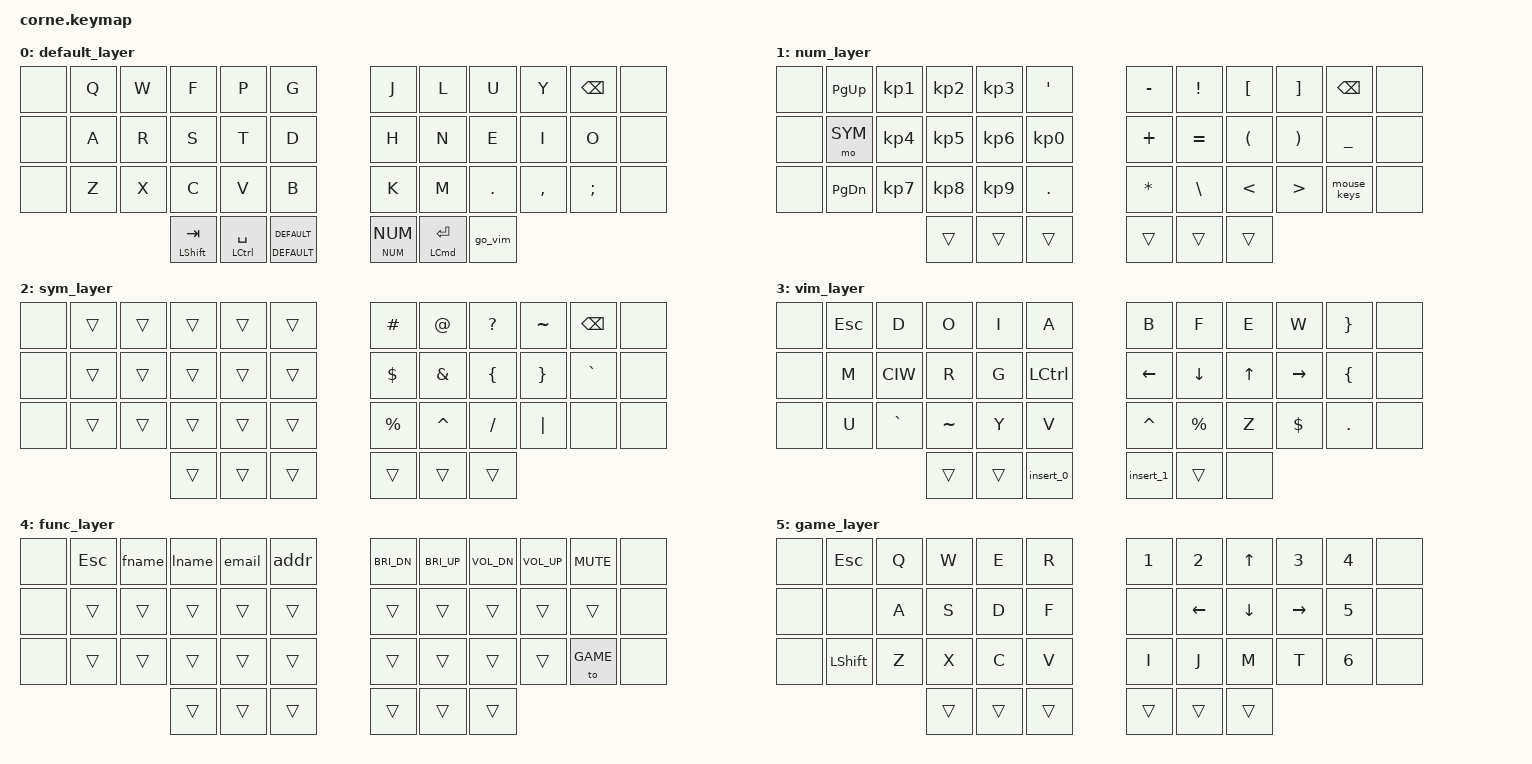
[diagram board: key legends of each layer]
/*
 * Copyright (c) 2020 The ZMK Contributors
 *
 * SPDX-License-Identifier: MIT
 */

#include <behaviors.dtsi>
#include <dt-bindings/zmk/keys.h>
#include <dt-bindings/zmk/bt.h>

// LAYERS
#define DEFAULT 0
#define NUM     1
#define SYM     2
#define VIM     3
#define FUNC    4
#define GAME    5

/ {
        behaviors {
                kp_to: kp_to {
                        compatible = "zmk,behavior-hold-tap";
                        #binding-cells = <2>;
                        bindings = <&kp>, <&to>;
                        tapping-term-ms = <200>;
                };

                mo_to: mo_to {
                        compatible = "zmk,behavior-hold-tap";
                        #binding-cells = <2>;
                        bindings = <&mo>, <&to>;
                        tapping-term-ms = <200>;
                };
        };

                
        macros {
                fname: fname {
                compatible = "zmk,behavior-macro";
                #binding-cells = <0>;
                bindings
                        = <&macro_press &kp LSHFT>
                        , <&macro_tap &kp A>
                        , <&macro_release &kp LSHFT>
                        , <&macro_tap &kp D &kp A &kp M>
                        ;
                };

                lname: lname {
                compatible = "zmk,behavior-macro";
                #binding-cells = <0>;
                bindings
                        = <&macro_press &kp LSHFT>
                        , <&macro_tap &kp S>
                        , <&macro_release &kp LSHFT>
                        , <&macro_tap &kp O &kp U &kp T &kp H &kp W &kp I &kp C &kp K>
                        ;
                };

                email: email {
                compatible = "zmk,behavior-macro";
                #binding-cells = <0>;
                bindings
                        = <&macro_tap &kp A &kp D &kp A &kp M>
                        , <&macro_tap &kp S &kp O &kp U &kp T &kp H &kp W &kp I &kp C &kp K>
                        , <&macro_tap &kp AT &kp G &kp M &kp A &kp I &kp L>
                        , <&macro_tap &kp DOT &kp C &kp O &kp M>
                        ;
                };

                addr: addr {
                compatible = "zmk,behavior-macro";
                #binding-cells = <0>;
                bindings
                        = <&macro_tap &kp N1 &kp N0 &kp N1 &kp N6 &kp SPACE>
                        , <&macro_press &kp LSHFT>
                        , <&macro_tap &kp C>
                        , <&macro_release &kp LSHFT>
                        , <&macro_tap &kp H &kp U &kp R &kp C &kp H>
                        , <&macro_tap &kp SPACE &kp S &kp T &kp DOT>
                        ;
                };

                mouse_keys: mouse_keys {
                compatible = "zmk,behavior-macro";
                #binding-cells = <0>;
                bindings
                        = <&macro_tap &kp LALT &kp LALT &kp LALT &kp LALT &kp LALT >
                        ;
                }; 

                CIW: CIW {
                compatible = "zmk,behavior-macro";
                #binding-cells = <0>;
                bindings
                        = <&macro_tap &kp C &kp I &kp W >
                        ;
                };

                insert_0: insert_0 {
                compatible = "zmk,behavior-macro";
                #binding-cells = <0>;
                bindings
                        = <&macro_tap &kp I &to DEFAULT >
                        ;
                };

                insert_1: insert_1 {
                compatible = "zmk,behavior-macro";
                #binding-cells = <0>;
                bindings
                        = <&macro_tap &kp I &to NUM >
                        ;
                };

                go_vim: go_vim {
                compatible = "zmk,behavior-macro";
                #binding-cells = <0>;
                bindings
                        = <&macro_tap &kp ESC &to VIM >
                        ;
                };     
        };

        combos {
                compatible = "zmk,combos";
                combo_caps {
                timeout-ms = <50>;
                layers = <0>;
                key-positions = <39 40>;
                bindings = <&kp CAPS>;
                };

                combo_func {
                timeout-ms = <50>;
                layers = <0 1 2 3 5>;
                key-positions = <37 42>;
                bindings = <&mo FUNC>;
                };
        };

        keymap {
                compatible = "zmk,keymap";

                default_layer {
// -----------------------------------------------------------------------------------------
//           |  Q  |  W  |  F  |  P  |  G  |    |  J  |  L  |  U  |  Y  | BSP |
//           |  A  |  R  |  S  |  T  |  D  |    |  H  |  N  |  E  |  I  |  O  |
//           |  Z  |  X  |  C  |  V  |  B  |    |  K  |  M  |  .  |  ,  |  ;  |
//
//         | LSHIFT:TAB | CTRL:SPC | L0:L0 |    | L1:L1 | CMD:ENT | L3 |
// -----------------------------------------------------------------------------------------
                        bindings = <
&none   &kp Q &kp W &kp F &kp P &kp G    &kp J &kp L &kp U &kp Y &kp BSPC       &none
&none   &kp A &kp R &kp S &kp T &kp D    &kp H &kp N &kp E &kp I &kp O          &none
&none   &kp Z &kp X &kp C &kp V &kp B    &kp K &kp M &kp DOT &kp COMMA &kp SEMI &none

&mt LSHIFT TAB &mt LCTRL SPACE &mo_to DEFAULT DEFAULT   &mo_to NUM NUM  &mt LCMD RET &go_vim
                        >;
                };

                num_layer {
// -----------------------------------------------------------------------------------------
//       | pg_up |  1  |  2  |  3  |  '  |    |  -  |  !  |  [  |  ]  | BSP |
//       |   L2  |  4  |  5  |  6  |  0  |    |  +  |  =  |  (  |  )  |  _  |
//       | pg_dn |  7  |  8  |  9  |  .  |    |  *  |  /  |  <  |  >  |mouse_keys|
// -----------------------------------------------------------------------------------------
                        bindings = <
&none   &kp PG_UP &kp KP_N1 &kp KP_N2 &kp KP_N3 &kp SQT    &kp MINUS &kp EXCL &kp LBKT &kp RBKT &kp BSPC   &none
&none   &mo SYM   &kp KP_N4 &kp KP_N5 &kp KP_N6 &kp KP_N0  &kp PLUS &kp EQUAL &kp LPAR &kp RPAR &kp UNDER  &none
&none   &kp PG_DN &kp KP_N7 &kp KP_N8 &kp KP_N9 &kp DOT    &kp ASTRK &kp BSLH  &kp LT &kp GT &mouse_keys   &none

                        &trans &trans &trans    &trans &trans &trans
                        >;
                };

                sym_layer {
// -----------------------------------------------------------------------------------------
//           |                          |    |  #  |  @  |  ?  |  ~  | BSP |
//           |           trans          |    |  $  |  &  |  {  |  }  |  `  |
//           |                          |    |  %  |  ^  |  \  |  |  | none|
// -----------------------------------------------------------------------------------------
                        bindings = <
&none   &trans &trans &trans &trans &trans   &kp HASH &kp AT &kp QMARK &kp TILDE &kp BSPC    &none
&none   &trans &trans &trans &trans &trans   &kp DLLR &kp AMPS &kp LBRC &kp RBRC &kp GRAVE   &none
&none   &trans &trans &trans &trans &trans   &kp PRCNT &kp CARET &kp FSLH &kp PIPE &none     &none

                        &trans &trans &trans    &trans &trans &trans
                        >;
                };

                vim_layer {
// -----------------------------------------------------------------------------------------
//      | ESC |  D  |  O  |  I  |  A   |    |   B  |   F  |  E  |   W   |  }  |
//      |  M  | CIW |  R  |  G  | CTRL |    | LEFT | DOWN |  UP | RIGHT |  {  |
//      |  U  |  `  |  ~  |  Y  |  V   |    |   ^  |   %  |  Z  |   $   |  .  |
// -----------------------------------------------------------------------------------------
                        bindings = <
&none   &kp ESC &kp D &kp O &kp I &kp A         &kp B &kp F &kp E &kp W &kp RBRC              &none
&none   &kp M &CIW &kp R &kp G &kp LCTRL        &kp LEFT &kp DOWN &kp UP &kp RIGHT &kp LBRC   &none
&none   &kp U &kp GRAVE &kp TILDE &kp Y &kp V   &kp CARET &kp PRCNT &kp Z &kp DLLR &kp DOT    &none
                        &trans &trans &insert_0    &insert_1 &trans &none
                        >;
                };

                func_layer {
// -----------------------------------------------------------------------------------------
//      | ESC | fname | lname | email | addr |     | BRIGHT_DN | BRIGHT_UP | VOL_DN | VOL_UP | MUTE |
//
//                                                                                  | L5 |
// -----------------------------------------------------------------------------------------
                        bindings = <
&none   &kp ESC &fname &lname &email &addr    &kp C_BRI_DN &kp C_BRI_UP &kp C_VOL_DN &kp C_VOL_UP &kp C_MUTE  &none
&none   &trans &trans &trans &trans &trans    &trans &trans &trans &trans &trans                              &none
&none   &trans &trans &trans &trans &trans    &trans &trans &trans &trans &to GAME                            &none
                      &trans &trans &trans    &trans &trans &trans
                        >;
                };

                game_layer {
// -----------------------------------------------------------------------------------------
//           | ESC  |  Q  |  W  |  E  |  R  |    |   1  |   2  |  UP  |   3   |  4   |
//           |   .  |  A  |  S  |  D  |  F  |    |   .  | LEFT | DOWN | RIGHT |  5   |
//           |LSHIFT|  Z  |  X  |  C  |  V  |    |   I  |   J  |   M  |   T   |  6   |
// -----------------------------------------------------------------------------------------
                        bindings = <
&none   &kp ESC &kp Q &kp W &kp E &kp R    &kp N1 &kp N2 &kp UP &kp N3 &kp N4         &none
&none   &none &kp A &kp S &kp D &kp F      &none &kp LEFT &kp DOWN &kp RIGHT &kp N5   &none
&none   &kp LSHFT &kp Z &kp X &kp C &kp V  &kp I &kp J &kp M &kp T &kp N6             &none
                &trans &trans &trans    &trans &trans &trans
                        >;
                };
        };
};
